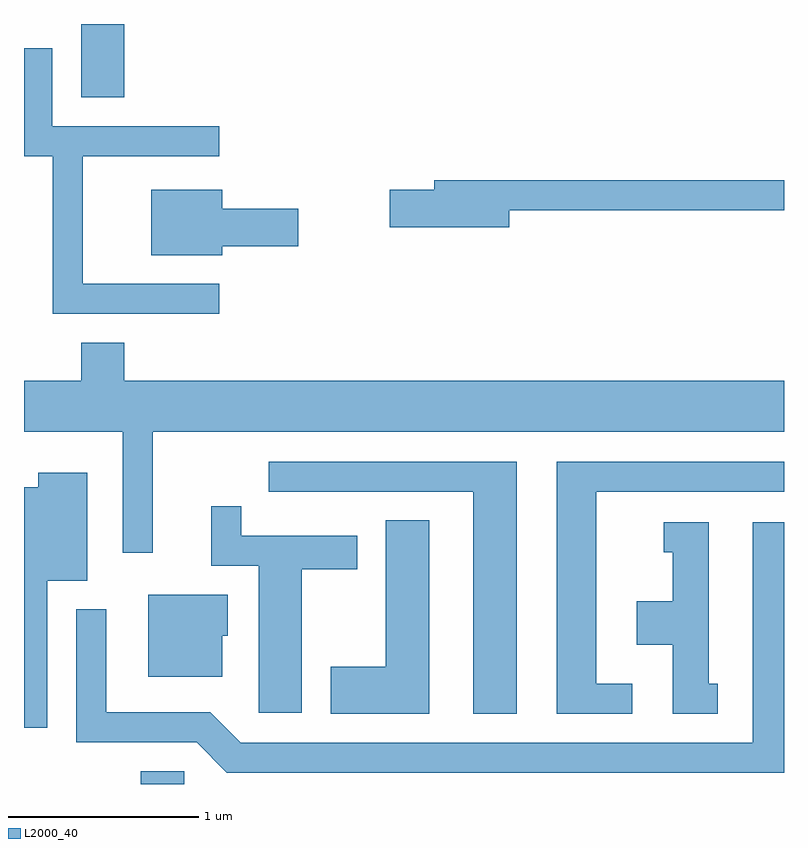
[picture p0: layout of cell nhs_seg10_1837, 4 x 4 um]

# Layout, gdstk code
import gdstk
lib = gdstk.Library(unit=1e-6, precision=1e-09)
def R(c, l, rs):  # rectangles x0, y0, x1, y1
    for r in rs: c.add(gdstk.rectangle(r[:2], r[2:], *l))
def P(c, l, *ps):  # polygons
    for p in ps: c.add(gdstk.Polygon(p, *l))
L2000_40 = (2000, 40)

nhs_seg10_1837 = lib.new_cell('nhs_seg10_1837')
R(nhs_seg10_1837, L2000_40, [(240.226,2096.522,240.454,2096.589), (239.911,2100.136,240.139,2100.522)])
P(nhs_seg10_1837, L2000_40, [(240.638,2099.154),(239.919,2099.154),(239.919,2099.826),(240.638,2099.826),(240.638,2099.984),(239.759,2099.984),(239.759,2100.394),(239.611,2100.394),(239.611,2099.826),(239.761,2099.826),(239.761,2098.996),(240.638,2098.996)],
  [(242.164,2099.541),(243.611,2099.541),(243.611,2099.699),(241.771,2099.699),(241.771,2099.649),(241.536,2099.649),(241.536,2099.451),(242.164,2099.451)],
  [(240.654,2099.351),(241.054,2099.351),(241.054,2099.549),(240.654,2099.549),(240.654,2099.649),(240.281,2099.649),(240.281,2099.306),(240.654,2099.306)],
  [(240.289,2098.376),(243.611,2098.376),(243.611,2098.644),(240.139,2098.644),(240.139,2098.844),(239.911,2098.844),(239.911,2098.644),(239.611,2098.644),(239.611,2098.376),(240.131,2098.376),(240.131,2097.738),(240.289,2097.738)],
  [(242.813,2097.049),(242.624,2097.049),(242.624,2098.061),(243.611,2098.061),(243.611,2098.219),(242.416,2098.219),(242.416,2096.891),(242.813,2096.891)],
  [(242.204,2098.219),(240.898,2098.219),(240.898,2098.061),(241.976,2098.061),(241.976,2096.891),(242.204,2096.891)],
  [(239.734,2097.591),(239.944,2097.591),(239.944,2098.159),(239.686,2098.159),(239.686,2098.084),(239.611,2098.084),(239.611,2096.818),(239.734,2096.818)],
  [(241.074,2097.651),(241.364,2097.651),(241.364,2097.829),(240.754,2097.829),(240.754,2097.983),(240.596,2097.983),(240.596,2097.671),(240.846,2097.671),(240.846,2096.896),(241.074,2096.896)],
  [(241.744,2097.909),(241.516,2097.909),(241.516,2097.139),(241.226,2097.139),(241.226,2096.891),(241.744,2096.891)],
  [(243.263,2097.049),(243.214,2097.049),(243.214,2097.899),(242.978,2097.899),(242.978,2097.741),(243.026,2097.741),(243.026,2097.484),(242.836,2097.484),(242.836,2097.256),(243.026,2097.256),(243.026,2096.891),(243.263,2096.891)],
  [(243.611,2097.899),(243.446,2097.899),(243.446,2096.739),(240.752,2096.739),(240.592,2096.899),(240.044,2096.899),(240.044,2097.443),(239.886,2097.443),(239.886,2096.741),(240.519,2096.741),(240.679,2096.581),(243.611,2096.581)],
  [(240.654,2097.301),(240.684,2097.301),(240.684,2097.519),(240.266,2097.519),(240.266,2097.086),(240.654,2097.086)])

lib.write_gds('nhs_seg10_1837.gds')
